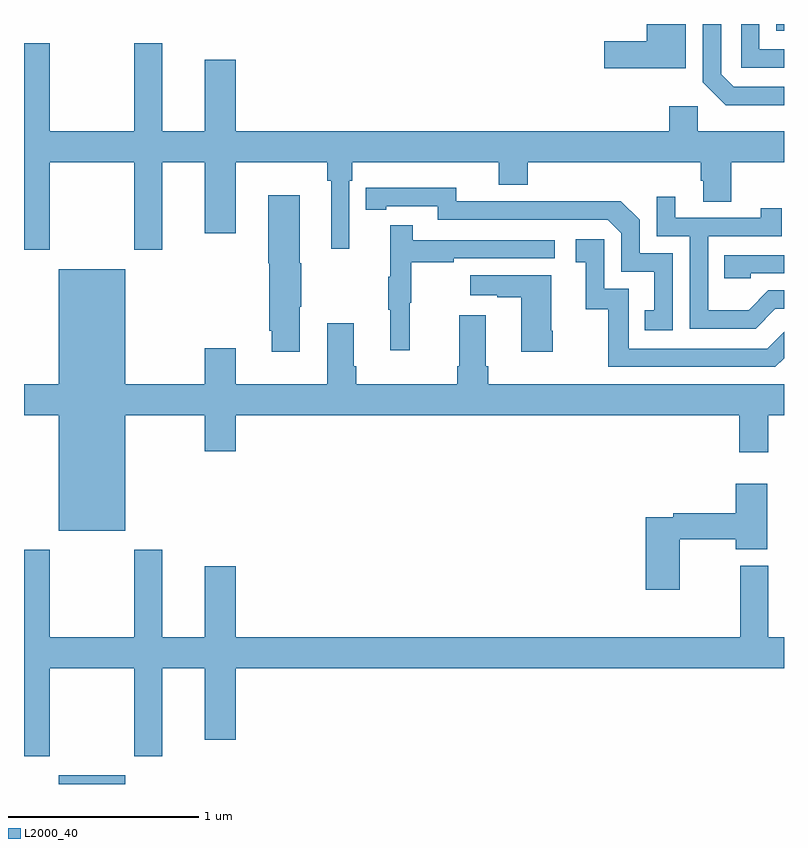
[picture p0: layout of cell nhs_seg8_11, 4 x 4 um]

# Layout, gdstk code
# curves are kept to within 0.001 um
import gdstk
lib = gdstk.Library(unit=1e-6, precision=1e-09)
def R(c, l, rs):  # rectangles x0, y0, x1, y1
    for r in rs: c.add(gdstk.rectangle(r[:2], r[2:], *l))
def P(c, l, *ps):  # polygons
    for p in ps: c.add(gdstk.Polygon(p, *l))
L2000_40 = (2000, 40)

nhs_seg8_11 = lib.new_cell('nhs_seg8_11')
R(nhs_seg8_11, L2000_40, [(111.182,1107.9,111.532,1107.946), (114.959,1111.865,115,1111.9), (111.182,1111.898,111.532,1111.9)])
P(nhs_seg8_11, L2000_40, [(115,1111.569),(114.735,1111.569),(114.669,1111.635),(114.669,1111.9),(114.573,1111.9),(114.573,1111.593),(114.694,1111.472),(115,1111.472)],
  [(115,1111.767),(114.87,1111.767),(114.87,1111.9),(114.774,1111.9),(114.774,1111.671),(115,1111.671)],
  [(114.484,1111.9),(114.277,1111.9),(114.277,1111.808),(114.054,1111.808),(114.054,1111.666),(114.484,1111.666)],
  [(111.135,1111.172),(111.58,1111.172),(111.58,1110.711),(111.727,1110.711),(111.727,1111.172),(111.95,1111.172),(111.95,1110.798),(112.114,1110.798),(112.114,1111.172),(112.597,1111.172),(112.597,1111.076),(112.616,1111.076),(112.616,1110.717),(112.713,1110.717),(112.713,1111.076),(112.727,1111.076),(112.727,1111.172),(113.498,1111.172),(113.498,1111.055),(113.651,1111.055),(113.651,1111.172),(114.563,1111.172),(114.563,1111.074),(114.575,1111.074),(114.575,1110.964),(114.723,1110.964),(114.723,1111.172),(115,1111.172),(115,1111.336),(114.546,1111.336),(114.546,1111.468),(114.395,1111.468),(114.395,1111.336),(112.114,1111.336),(112.114,1111.711),(111.95,1111.711),(111.95,1111.336),(111.727,1111.336),(111.727,1111.798),(111.58,1111.798),(111.58,1111.336),(111.135,1111.336),(111.135,1111.798),(111,1111.798),(111,1110.711),(111.135,1110.711)],
  [(114.414,1110.693),(114.24,1110.693),(114.24,1110.87),(114.142,1110.968),(113.734,1110.968),(113.734,1110.966),(113.274,1110.966),(113.274,1111.039),(112.798,1111.038),(112.798,1110.922),(112.906,1110.922),(112.906,1110.942),(113.178,1110.942),(113.178,1110.87),(114.072,1110.87),(114.144,1110.798),(114.144,1110.597),(114.317,1110.597),(114.317,1110.393),(114.268,1110.393),(114.268,1110.288),(114.414,1110.288)],
  [(112.45,1110.412),(112.458,1110.412),(112.458,1110.642),(112.45,1110.642),(112.45,1111),(112.286,1111),(112.286,1110.642),(112.292,1110.642),(112.292,1110.286),(112.304,1110.286),(112.304,1110.174),(112.45,1110.174)],
  [(114.955,1110.402),(115,1110.402),(115,1110.498),(114.918,1110.498),(114.814,1110.394),(114.6,1110.394),(114.6,1110.783),(114.989,1110.783),(114.989,1110.931),(114.878,1110.931),(114.878,1110.879),(114.427,1110.879),(114.427,1110.991),(114.33,1110.991),(114.33,1110.783),(114.504,1110.783),(114.504,1110.297),(114.85,1110.297)],
  [(113.03,1110.432),(113.038,1110.432),(113.038,1110.646),(113.261,1110.646),(113.261,1110.666),(113.794,1110.666),(113.794,1110.762),(113.045,1110.762),(113.045,1110.841),(112.928,1110.841),(112.928,1110.569),(112.917,1110.569),(112.917,1110.395),(112.928,1110.395),(112.928,1110.183),(113.03,1110.183)],
  [(115,1110.142),(115,1110.28),(114.912,1110.192),(114.183,1110.192),(114.183,1110.507),(114.054,1110.507),(114.054,1110.766),(113.904,1110.766),(113.904,1110.645),(113.957,1110.645),(113.957,1110.399),(114.075,1110.399),(114.075,1110.096),(114.954,1110.096)],
  [(114.825,1110.588),(115,1110.588),(115,1110.684),(114.685,1110.684),(114.685,1110.561),(114.825,1110.561)],
  [(111.532,1109.84),(111.95,1109.84),(111.95,1109.652),(112.114,1109.652),(112.114,1109.84),(114.764,1109.84),(114.764,1109.646),(114.916,1109.646),(114.916,1109.84),(115,1109.84),(115,1110.004),(113.444,1110.004),(113.444,1110.1),(113.431,1110.1),(113.431,1110.367),(113.291,1110.367),(113.291,1110.1),(113.279,1110.1),(113.279,1110.004),(112.748,1110.004),(112.748,1110.1),(112.735,1110.1),(112.735,1110.325),(112.595,1110.325),(112.595,1110.004),(112.114,1110.004),(112.114,1110.193),(111.95,1110.193),(111.95,1110.004),(111.532,1110.004),(111.532,1110.61),(111.182,1110.61),(111.182,1110.004),(111,1110.004),(111,1109.84),(111.182,1109.84),(111.182,1109.234),(111.532,1109.234)],
  [(113.784,1110.286),(113.776,1110.286),(113.776,1110.577),(113.349,1110.577),(113.349,1110.473),(113.492,1110.473),(113.492,1110.463),(113.618,1110.463),(113.618,1110.174),(113.784,1110.174)],
  [(114.45,1109.188),(114.746,1109.188),(114.746,1109.135),(114.913,1109.135),(114.913,1109.479),(114.746,1109.479),(114.746,1109.324),(114.418,1109.324),(114.418,1109.304),(114.272,1109.304),(114.272,1108.923),(114.45,1108.923)],
  [(111.135,1108.508),(111.58,1108.508),(111.58,1108.047),(111.727,1108.047),(111.727,1108.508),(111.95,1108.508),(111.95,1108.134),(112.114,1108.134),(112.114,1108.508),(115,1108.508),(115,1108.672),(114.916,1108.672),(114.916,1109.05),(114.769,1109.05),(114.769,1108.672),(112.114,1108.672),(112.114,1109.047),(111.95,1109.047),(111.95,1108.672),(111.727,1108.672),(111.727,1109.134),(111.58,1109.134),(111.58,1108.672),(111.135,1108.672),(111.135,1109.134),(111,1109.134),(111,1108.047),(111.135,1108.047)])

lib.write_gds('nhs_seg8_11.gds')
